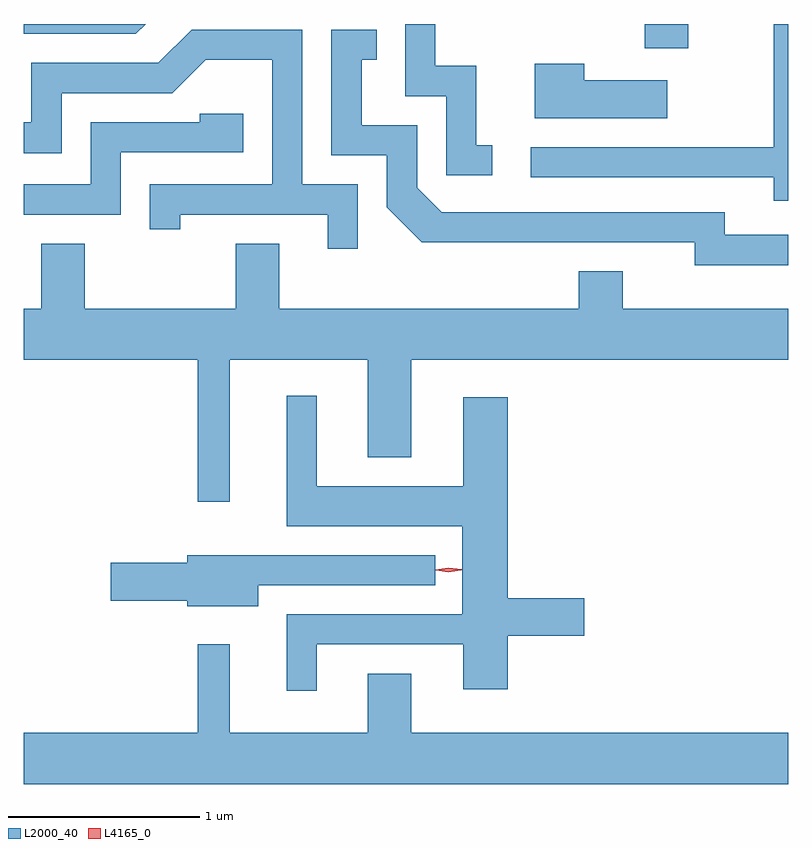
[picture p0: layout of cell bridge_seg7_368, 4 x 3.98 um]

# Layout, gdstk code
import gdstk
lib = gdstk.Library(unit=1e-6, precision=1e-09)
def R(c, l, rs):  # rectangles x0, y0, x1, y1
    for r in rs: c.add(gdstk.rectangle(r[:2], r[2:], *l))
def P(c, l, *ps):  # polygons
    for p in ps: c.add(gdstk.Polygon(p, *l))
L2000_40 = (2000, 40)
L4165_0 = (4165, 0)

bridge_seg7_368 = lib.new_cell('bridge_seg7_368')
R(bridge_seg7_368, L2000_40, [(1084.231,1800.306,1084.459,1800.433)])
P(bridge_seg7_368, L2000_40, [(1084.981,1800.433),(1084.906,1800.433),(1084.906,1799.789),(1083.633,1799.789),(1083.633,1799.631),(1084.906,1799.631),(1084.906,1799.508),(1084.981,1799.508)],
  [(1083.433,1799.799),(1083.349,1799.799),(1083.349,1800.214),(1083.134,1800.214),(1083.134,1800.433),(1082.976,1800.433),(1082.976,1800.056),(1083.191,1800.056),(1083.191,1799.641),(1083.433,1799.641)],
  [(1081.619,1800.433),(1080.981,1800.433),(1080.981,1800.381),(1081.567,1800.381)],
  [(1082.729,1799.594),(1082.439,1799.594),(1082.439,1800.404),(1081.859,1800.404),(1081.684,1800.229),(1081.021,1800.229),(1081.021,1799.919),(1080.981,1799.919),(1080.981,1799.756),(1081.179,1799.756),(1081.179,1800.071),(1081.757,1800.071),(1081.932,1800.246),(1082.281,1800.246),(1082.281,1799.594),(1081.641,1799.594),(1081.641,1799.358),(1081.799,1799.358),(1081.799,1799.436),(1082.571,1799.436),(1082.571,1799.258),(1082.729,1799.258)],
  [(1084.981,1799.329),(1084.649,1799.329),(1084.649,1799.449),(1083.167,1799.449),(1083.039,1799.577),(1083.039,1799.904),(1082.749,1799.904),(1082.749,1800.246),(1082.828,1800.246),(1082.828,1800.404),(1082.591,1800.404),(1082.591,1799.746),(1082.881,1799.746),(1082.881,1799.474),(1083.064,1799.291),(1084.491,1799.291),(1084.491,1799.171),(1084.981,1799.171)],
  [(1084.349,1800.139),(1083.914,1800.139),(1083.914,1800.224),(1083.656,1800.224),(1083.656,1799.941),(1084.349,1799.941)],
  [(1081.489,1799.761),(1082.129,1799.761),(1082.129,1799.964),(1081.901,1799.964),(1081.901,1799.919),(1081.331,1799.919),(1081.331,1799.594),(1080.981,1799.594),(1080.981,1799.436),(1081.489,1799.436)],
  [(1082.059,1798.676),(1082.781,1798.676),(1082.781,1798.166),(1083.009,1798.166),(1083.009,1798.676),(1084.981,1798.676),(1084.981,1798.944),(1084.114,1798.944),(1084.114,1799.139),(1083.886,1799.139),(1083.886,1798.944),(1082.319,1798.944),(1082.319,1799.284),(1082.091,1799.284),(1082.091,1798.944),(1081.299,1798.944),(1081.299,1799.284),(1081.071,1799.284),(1081.071,1798.944),(1080.981,1798.944),(1080.981,1798.676),(1081.891,1798.676),(1081.891,1797.933),(1082.059,1797.933)],
  [(1082.514,1797.186),(1083.281,1797.186),(1083.281,1796.951),(1083.514,1796.951),(1083.514,1797.231),(1083.914,1797.231),(1083.914,1797.429),(1083.514,1797.429),(1083.514,1798.479),(1083.281,1798.479),(1083.281,1798.014),(1082.514,1798.014),(1082.514,1798.488),(1082.356,1798.488),(1082.356,1797.806),(1083.276,1797.806),(1083.276,1797.344),(1082.356,1797.344),(1082.356,1796.943),(1082.514,1796.943)],
  [(1082.209,1797.496),(1083.133,1797.496),(1083.133,1797.654),(1081.836,1797.654),(1081.836,1797.614),(1081.436,1797.614),(1081.436,1797.416),(1081.836,1797.416),(1081.836,1797.386),(1082.209,1797.386)],
  [(1084.981,1796.724),(1083.009,1796.724),(1083.009,1797.034),(1082.781,1797.034),(1082.781,1796.724),(1082.059,1796.724),(1082.059,1797.188),(1081.891,1797.188),(1081.891,1796.724),(1080.981,1796.724),(1080.981,1796.456),(1084.981,1796.456)])
P(bridge_seg7_368, L4165_0, [(1083.204,1797.568),(1083.134,1797.578),(1083.134,1797.578),(1083.134,1797.578),(1083.203,1797.588),(1083.272,1797.579),(1083.273,1797.578),(1083.272,1797.578)],
  [(1083.203,1797.565),(1083.138,1797.574),(1083.137,1797.575),(1083.138,1797.576),(1083.203,1797.585),(1083.269,1797.575),(1083.269,1797.575),(1083.269,1797.574)])

lib.write_gds('bridge_seg7_368.gds')
